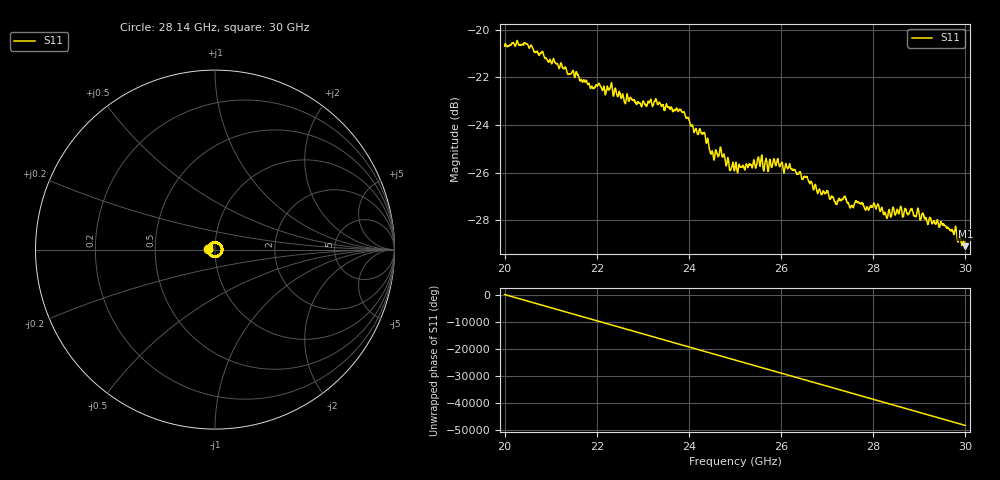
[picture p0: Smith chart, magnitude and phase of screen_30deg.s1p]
#  HZ  S  RI  R  50.00
! Rohde & Schwarz ZVA40 4Ports - Version 3.90 - 1145.1110k42 SN: 100403
! Date: 2023-09-28 10:20:20
! Measurement: S12
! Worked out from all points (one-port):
!   5001 points, 20 GHz to 30 GHz, reference 50 ohm
!   lowest |S11| = -29.1 dB at 30 GHz (marker M1), VSWR 1.07, Z = 47.1 + j1.86 ohm
!   |S11| at or under -10 dB: start of sweep to end of sweep
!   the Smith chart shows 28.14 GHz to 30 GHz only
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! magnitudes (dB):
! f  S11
! 20 GHz  -20.7
! 20.47 GHz  -20.6
! 21.25 GHz  -21.6
! 21.89 GHz  -22.4
! 22.29 GHz  -22.5
! 22.5 GHz  -22.7
! 23.75 GHz  -23.3
! 23.87 GHz  -23.5
! 24.15 GHz  -24.1
! 24.3 GHz  -24.4
! 24.51 GHz  -25.1
! 24.71 GHz  -25.3
! 24.85 GHz  -25.4
! 25 GHz  -25.8
! 25.54 GHz  -25.7
! 26.25 GHz  -25.9
! 26.83 GHz  -26.7
! 26.98 GHz  -26.9
! 27.19 GHz  -27.3
! 27.37 GHz  -27.0
! 27.5 GHz  -27.5
! 27.65 GHz  -27.2
! 27.86 GHz  -27.5
! 28.06 GHz  -27.5
! 28.27 GHz  -27.7
! 28.75 GHz  -27.8
! 29.51 GHz  -28.2
! 30 GHz  -29.1
